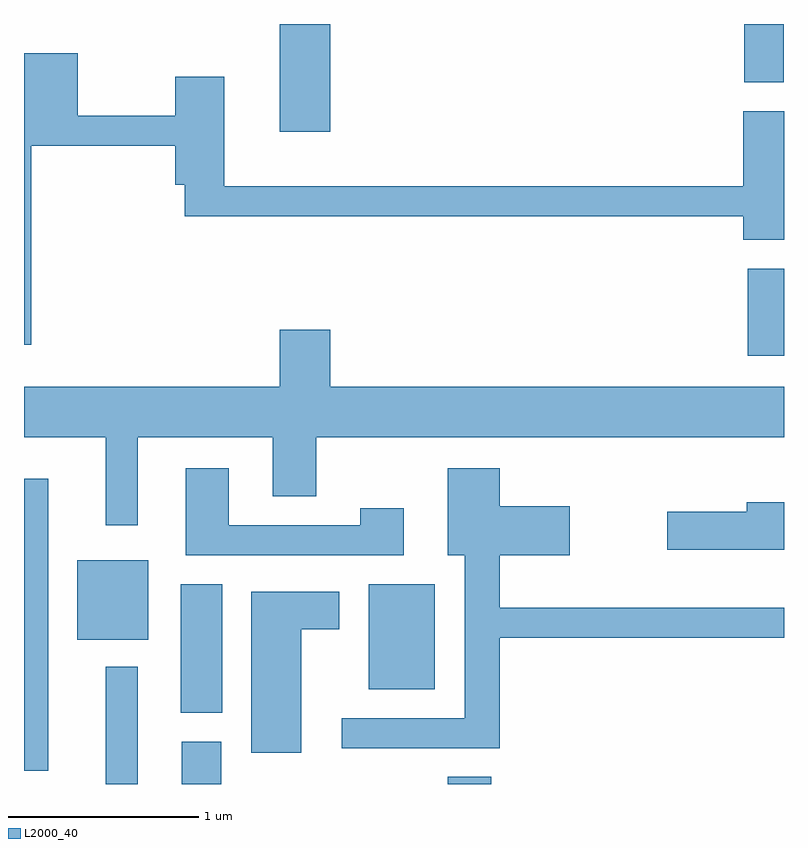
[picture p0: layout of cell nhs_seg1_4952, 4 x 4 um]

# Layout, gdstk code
import gdstk
lib = gdstk.Library(unit=1e-6, precision=1e-09)
def R(c, l, rs):  # rectangles x0, y0, x1, y1
    for r in rs: c.add(gdstk.rectangle(r[:2], r[2:], *l))
def P(c, l, *ps):  # polygons
    for p in ps: c.add(gdstk.Polygon(p, *l))
L2000_40 = (2000, 40)

nhs_seg1_4952 = lib.new_cell('nhs_seg1_4952')
R(nhs_seg1_4952, L2000_40, [(334.041,937.712,334.209,938.328), (334.441,937.712,334.649,937.934), (335.841,937.712,336.069,937.749), (333.611,937.781,333.739,939.318), (334.436,938.086,334.654,938.764), (335.426,938.211,335.774,938.764), (333.891,938.471,334.264,938.889), (337.421,939.966,337.611,940.424), (334.956,941.146,335.224,941.712), (337.401,941.406,337.609,941.712)])
P(nhs_seg1_4952, L2000_40, [(333.649,941.071),(334.406,941.071),(334.406,940.866),(334.456,940.866),(334.456,940.701),(337.396,940.701),(337.396,940.576),(337.611,940.576),(337.611,941.254),(337.396,941.254),(337.396,940.859),(334.664,940.859),(334.664,941.434),(334.406,941.434),(334.406,941.229),(333.894,941.229),(333.894,941.559),(333.611,941.559),(333.611,940.023),(333.649,940.023)],
  [(334.209,939.536),(334.921,939.536),(334.921,939.226),(335.149,939.226),(335.149,939.536),(337.611,939.536),(337.611,939.804),(335.224,939.804),(335.224,940.104),(334.956,940.104),(334.956,939.804),(333.611,939.804),(333.611,939.536),(334.041,939.536),(334.041,939.073),(334.209,939.073)],
  [(335.609,939.164),(335.381,939.164),(335.381,939.074),(334.689,939.074),(334.689,939.374),(334.461,939.374),(334.461,938.916),(335.609,938.916)],
  [(336.114,938.481),(337.611,938.481),(337.611,938.639),(336.114,938.639),(336.114,938.916),(336.484,938.916),(336.484,939.174),(336.114,939.174),(336.114,939.374),(335.841,939.374),(335.841,938.916),(335.931,938.916),(335.931,938.059),(335.283,938.059),(335.283,937.901),(336.114,937.901)],
  [(337.611,939.194),(337.416,939.194),(337.416,939.144),(336.996,939.144),(336.996,938.946),(337.611,938.946)],
  [(335.069,938.526),(335.269,938.526),(335.269,938.724),(334.806,938.724),(334.806,937.876),(335.069,937.876)])

lib.write_gds('nhs_seg1_4952.gds')
